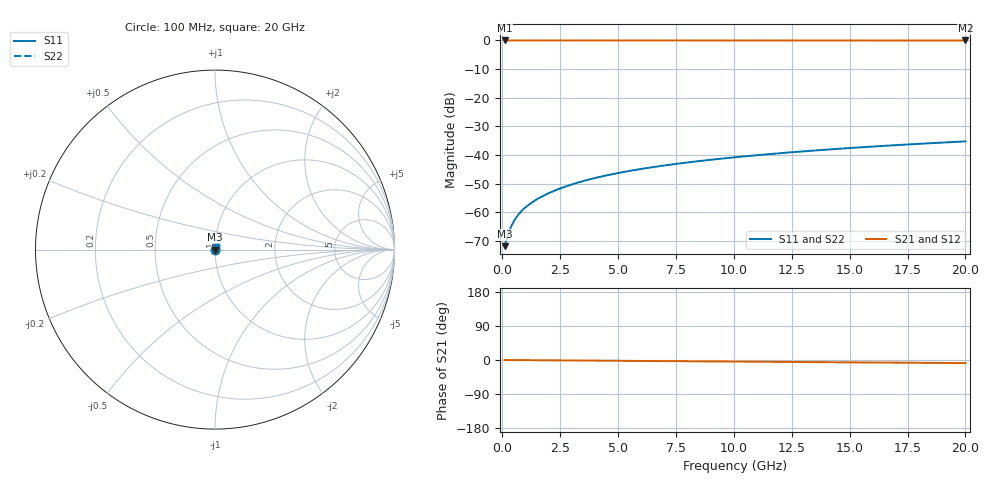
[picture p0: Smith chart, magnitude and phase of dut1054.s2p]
! Touchstone file exported from HFSS 2026.1.0
!  File:  C:/ffzhzh/LocalFiles/Ansys_Project_Files/temp_train_TSV_1054_1783189549_22436.aedt
!  Generated:  02:27:39 AM Jul  5, 2026
!  Design:  TSV
!  Project:  temp_train_TSV_1054_1783189549_22436
! Variables:
!  h_bsmrdl = 2um
!  h_ox = 20um
!  h_rdl = 5um
!  h_sub = 83.71um
!  h_tmrdl = 5um
!  h_tsv = 83.71um
!  h_via = 3um
!  l_bsmrdl = 300um
!  l_sub = 414.66um
!  l_tmrdl = 200um
!  m_sub = 200um
!  pitch = 34.55um
!  r_tsv = 7.33um
!  s_tmrdl = 10um
!  w_bsmrdl = 18um
!  w_sub = 500um
!  w_tmrdl = 12um
!  x_tsv_center1 = 206um
!  x_tsv_center2 = 524um
!  x_tsv_center3 = 736um
!  x_tsv_center4 = 1054um
!  x_tsv_center5 = 1266um
!  x_tsv_center6 = 1584um
# GHz S MA R 50.000000
! Terminal data exported
! Port[1] = TSV1_1_T1
! Port[2] = TSV1_1_T2
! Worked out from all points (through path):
!   200 points, 100 MHz to 20 GHz, reference 50 ohm
!   highest |S21| = 0.00 dB at 100 MHz (marker M1); lowest = 0.0 dB at 20 GHz (marker M2)
!   group delay of S21, straight-line fit = 1.14 ps
!   lowest |S11| = -71.8 dB at 100 MHz (marker M3), VSWR 1.00, Z = 50 + j0.0135 ohm
!   |S11| at or under -10 dB: start of sweep to end of sweep
!   |S22| runs from -71.8 to -35.3 dB; largest |S21 - S12| = 3e-15
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0.1  0.0002556 31.8  0.9998 -0.0  0.9998 -0.0  0.0002556 31.8
! Gamma 0 0 0 0
! Port Impedance 50 0 50 0
0.2  0.000352 49.2  0.9998 -0.1  0.9998 -0.1  0.000352 49.2
0.3  0.0004659 57.7  0.9998 -0.1  0.9998 -0.1  0.0004659 57.7
0.4  0.0005828 62.1  0.9997 -0.2  0.9997 -0.2  0.0005828 62.1
0.5  0.0006974 64.7  0.9997 -0.2  0.9997 -0.2  0.0006974 64.7
0.6  0.0008083 66.3  0.9997 -0.3  0.9997 -0.3  0.0008083 66.3
0.7  0.0009152 67.4  0.9997 -0.3  0.9997 -0.3  0.0009152 67.4
0.8  0.001018 68.3  0.9996 -0.3  0.9996 -0.3  0.001018 68.3
1  0.001217 69.8  0.9996 -0.4  0.9996 -0.4  0.001217 69.8
1.4  0.001595 71.9  0.9995 -0.6  0.9995 -0.6  0.001595 71.9
1.7  0.001872 73.2  0.9995 -0.7  0.9995 -0.7  0.001872 73.2
2  0.002147 74.2  0.9994 -0.8  0.9994 -0.8  0.002147 74.2
2.7  0.002787 75.8  0.9994 -1.1  0.9994 -1.1  0.002787 75.8
3.5  0.00351 76.9  0.9993 -1.5  0.9993 -1.5  0.00351 76.9
4.2  0.004135 77.4  0.9992 -1.7  0.9992 -1.7  0.004135 77.4
5  0.004838 77.8  0.9991 -2.1  0.9991 -2.1  0.004839 77.8
6.8  0.00639 78.2  0.999 -2.8  0.999 -2.8  0.00639 78.2
8.3  0.00766 78.3  0.9989 -3.4  0.9989 -3.4  0.00766 78.3
10.1  0.009169 78.2  0.9987 -4.2  0.9987 -4.2  0.009169 78.2
13.4  0.01191 77.8  0.9985 -5.5  0.9985 -5.5  0.01191 77.8
16.7  0.01461 77.1  0.9983 -6.8  0.9983 -6.8  0.01461 77.0
20  0.01727 76.1  0.9981 -8.2  0.9981 -8.2  0.01727 76.1
